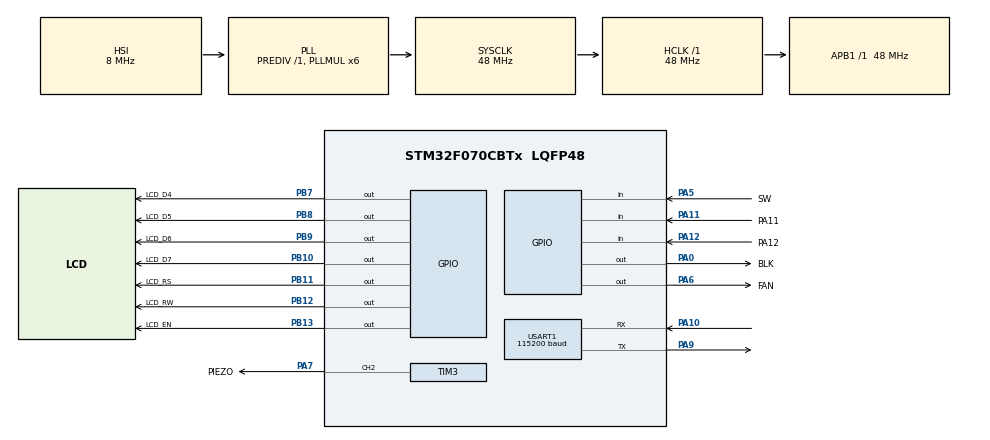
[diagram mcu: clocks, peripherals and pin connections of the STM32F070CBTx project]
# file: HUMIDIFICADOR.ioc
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Mcu.Family=STM32F0
Mcu.Name=STM32F070CBTx
Mcu.Package=LQFP48
NVIC.TIM3_IRQn=true\:0\:0\:false\:false\:true\:true\:true\:true
NVIC.USART1_IRQn=true\:0\:0\:false\:false\:true\:true\:true\:true
PA0.GPIO_Label=BLK
PA0.Signal=GPIO_Output
PA10.Mode=Asynchronous
PA10.Signal=USART1_RX
PA11.GPIO_Label=PA11
PA11.Signal=GPIO_Input
PA12.GPIO_Label=PA12
PA12.Signal=GPIO_Input
PA13.Mode=Serial_Wire
PA13.Signal=SYS_SWDIO
PA14.Mode=Serial_Wire
PA14.Signal=SYS_SWCLK
PA5.GPIO_Label=SW
PA5.Signal=GPIO_Input
PA6.GPIO_Label=FAN
PA6.Signal=GPIO_Output
PA7.GPIO_Label=PIEZO
PA7.Signal=S_TIM3_CH2
PA9.Mode=Asynchronous
PA9.Signal=USART1_TX
PB10.GPIO_Label=LCD_D7
PB10.GPIO_ModeDefaultOutputPP=GPIO_MODE_OUTPUT_OD
PB10.GPIO_PuPd=GPIO_NOPULL
PB10.Signal=GPIO_Output
PB11.GPIO_Label=LCD_RS
PB11.GPIO_ModeDefaultOutputPP=GPIO_MODE_OUTPUT_OD
PB11.GPIO_PuPd=GPIO_NOPULL
PB11.Signal=GPIO_Output
PB12.GPIO_Label=LCD_RW
PB12.GPIO_ModeDefaultOutputPP=GPIO_MODE_OUTPUT_OD
PB12.GPIO_PuPd=GPIO_NOPULL
PB12.Signal=GPIO_Output
PB13.GPIO_Label=LCD_EN
PB13.GPIO_ModeDefaultOutputPP=GPIO_MODE_OUTPUT_OD
PB13.GPIO_PuPd=GPIO_NOPULL
PB13.Signal=GPIO_Output
PB7.GPIO_Label=LCD_D4
PB7.GPIO_ModeDefaultOutputPP=GPIO_MODE_OUTPUT_OD
PB7.GPIO_PuPd=GPIO_NOPULL
PB7.Signal=GPIO_Output
PB8.GPIO_Label=LCD_D5
PB8.GPIO_ModeDefaultOutputPP=GPIO_MODE_OUTPUT_OD
PB8.GPIO_PuPd=GPIO_NOPULL
PB8.Signal=GPIO_Output
PB9.GPIO_Label=LCD_D6
PB9.GPIO_ModeDefaultOutputPP=GPIO_MODE_OUTPUT_OD
PB9.GPIO_PuPd=GPIO_NOPULL
PB9.Signal=GPIO_Output
PF0-OSC_IN.Mode=HSE-External-Oscillator
PF0-OSC_IN.Signal=RCC_OSC_IN
PF1-OSC_OUT.Mode=HSE-External-Oscillator
PF1-OSC_OUT.Signal=RCC_OSC_OUT
ProjectManager.HeapSize=0x200
ProjectManager.StackSize=0x400
ProjectManager.TargetToolchain=MDK-ARM V5.32
RCC.AHBFreq_Value=48000000
RCC.APB1Freq_Value=48000000
RCC.APB1TimFreq_Value=48000000
RCC.HCLKFreq_Value=48000000
RCC.PLLMUL=RCC_PLL_MUL6
RCC.SYSCLKFreq_VALUE=48000000
RCC.SYSCLKSource=RCC_SYSCLKSOURCE_PLLCLK
SH.S_TIM3_CH2.0=TIM3_CH2,PWM Generation2 CH2
TIM3.Channel-PWM\ Generation2\ CH2=TIM_CHANNEL_2
TIM3.Period=4096
TIM3.Pulse-PWM\ Generation2\ CH2=1024
USART1.BaudRate=115200
USART1.VirtualMode-Asynchronous=VM_ASYNC
VP_IWDG_VS_IWDG.Mode=IWDG_Activate
board=custom

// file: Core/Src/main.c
/* USER CODE BEGIN Header */
/**
  ******************************************************************************
  * @file           : main.c
  * @brief          : Main program body
  ******************************************************************************
  * @attention
  *
  * Copyright (c) 2023 STMicroelectronics.
  * All rights reserved.
  *
  * This software is licensed under terms that can be found in the LICENSE file
  * in the root directory of this software component.
  * If no LICENSE file comes with this software, it is provided AS-IS.
  *
  ******************************************************************************
  */
/* USER CODE END Header */
#include "main.h"

/* USER CODE BEGIN Includes */
#include "bsp_lcd20x4.h"
#include "bsp_hd44780.h"
/* USER CODE END Includes */

/* USER CODE BEGIN PD */
#define ON  1
#define OFF 0
/* USER CODE END PD */

IWDG_HandleTypeDef hiwdg;

TIM_HandleTypeDef htim3;

UART_HandleTypeDef huart1;

void SystemClock_Config(void);
static void MX_GPIO_Init(void);
static void MX_IWDG_Init(void);
static void MX_TIM3_Init(void);
static void MX_USART1_UART_Init(void);

/* USER CODE BEGIN 0 */
void backlight(char state){
	HAL_GPIO_WritePin(BLK_GPIO_Port,BLK_Pin,state);
}

void fan(char state){
	HAL_GPIO_WritePin(FAN_GPIO_Port,FAN_Pin,state);
}

/* USER CODE END 0 */

int main(void)
{
  /* USER CODE BEGIN 1 */
	char txt[40];
  /* USER CODE END 1 */

  /* MCU Configuration--------------------------------------------------------*/

  /* Reset of all peripherals, Initializes the Flash interface and the Systick. */
  HAL_Init();

  /* Configure the system clock */
  SystemClock_Config();

  /* Initialize all configured peripherals */
  MX_GPIO_Init();
  //MX_IWDG_Init();
  MX_TIM3_Init();
  MX_USART1_UART_Init();
  /* USER CODE BEGIN 2 */
	backlight(OFF);
	fan(OFF);

	HAL_TIM_PWM_Start(&htim3, TIM_CHANNEL_2);
	HD44780_Init();
	HD44780_Clear();
	vLCD20x4_SetXY(0,0);
	vLCD20x4_Text("HUMIDIFICADOR");
	HAL_Delay(1000);

	for(int x=0;x<5;x++){
		backlight(ON);
		fan(ON);
		HAL_Delay(5000);
		backlight(OFF);
		fan(OFF);
		HAL_Delay(5000);
	}
  /* USER CODE END 2 */

  /* Infinite loop */
  /* USER CODE BEGIN WHILE */
  while (1)
  {
		if(HAL_GPIO_ReadPin(SW_GPIO_Port,SW_Pin)){
			HAL_Delay(250);
			if(HAL_GPIO_ReadPin(SW_GPIO_Port,SW_Pin)){
				backlight(ON);
				fan(ON);
				for(int x=0;x<15;x++){
					/*LCD_Set_Cursor(1, 1);
					sprintf(txt,"%02d",x);
					LCD_Write_String(txt);*/
					HAL_TIM_PWM_Start(&htim3, TIM_CHANNEL_2);
					HAL_Delay(60000);
				}
				//LCD_Set_Cursor(1, 1);
				//LCD_Write_String("   ");
			}
		}
    /* USER CODE END WHILE */

    /* USER CODE BEGIN 3 */
		HAL_TIM_PWM_Stop(&htim3, TIM_CHANNEL_2);
		backlight(OFF);
		fan(OFF);
  }
  /* USER CODE END 3 */
}

void SystemClock_Config(void)
{
  RCC_OscInitTypeDef RCC_OscInitStruct = {0};
  RCC_ClkInitTypeDef RCC_ClkInitStruct = {0};
  RCC_PeriphCLKInitTypeDef PeriphClkInit = {0};

  /** Initializes the RCC Oscillators according to the specified parameters
  * in the RCC_OscInitTypeDef structure.
  */
  RCC_OscInitStruct.OscillatorType = RCC_OSCILLATORTYPE_HSI|RCC_OSCILLATORTYPE_LSI;
  RCC_OscInitStruct.HSIState = RCC_HSI_ON;
  RCC_OscInitStruct.HSICalibrationValue = RCC_HSICALIBRATION_DEFAULT;
  RCC_OscInitStruct.LSIState = RCC_LSI_ON;
  RCC_OscInitStruct.PLL.PLLState = RCC_PLL_ON;
  RCC_OscInitStruct.PLL.PLLSource = RCC_PLLSOURCE_HSI;
  RCC_OscInitStruct.PLL.PLLMUL = RCC_PLL_MUL6;
  RCC_OscInitStruct.PLL.PREDIV = RCC_PREDIV_DIV1;
  if (HAL_RCC_OscConfig(&RCC_OscInitStruct) != HAL_OK)
  {
    Error_Handler();
  }

  /** Initializes the CPU, AHB and APB buses clocks
  */
  RCC_ClkInitStruct.ClockType = RCC_CLOCKTYPE_HCLK|RCC_CLOCKTYPE_SYSCLK
                              |RCC_CLOCKTYPE_PCLK1;
  RCC_ClkInitStruct.SYSCLKSource = RCC_SYSCLKSOURCE_PLLCLK;
  RCC_ClkInitStruct.AHBCLKDivider = RCC_SYSCLK_DIV1;
  RCC_ClkInitStruct.APB1CLKDivider = RCC_HCLK_DIV1;

  if (HAL_RCC_ClockConfig(&RCC_ClkInitStruct, FLASH_LATENCY_1) != HAL_OK)
  {
    Error_Handler();
  }
  PeriphClkInit.PeriphClockSelection = RCC_PERIPHCLK_USART1;
  PeriphClkInit.Usart1ClockSelection = RCC_USART1CLKSOURCE_PCLK1;
  if (HAL_RCCEx_PeriphCLKConfig(&PeriphClkInit) != HAL_OK)
  {
    Error_Handler();
  }
}

static void MX_IWDG_Init(void)
{

  hiwdg.Instance = IWDG;
  hiwdg.Init.Prescaler = IWDG_PRESCALER_4;
  hiwdg.Init.Window = 4095;
  hiwdg.Init.Reload = 4095;
  if (HAL_IWDG_Init(&hiwdg) != HAL_OK)
  {
    Error_Handler();
  }

}

static void MX_TIM3_Init(void)
{

  TIM_MasterConfigTypeDef sMasterConfig = {0};
  TIM_OC_InitTypeDef sConfigOC = {0};

  htim3.Instance = TIM3;
  htim3.Init.Prescaler = 0;
  htim3.Init.CounterMode = TIM_COUNTERMODE_UP;
  htim3.Init.Period = 480;
  htim3.Init.ClockDivision = TIM_CLOCKDIVISION_DIV1;
  //htim3.Init.AutoReloadPreload = TIM_AUTORELOAD_PRELOAD_DISABLE;
  if (HAL_TIM_PWM_Init(&htim3) != HAL_OK)
  {
    Error_Handler();
  }
  sMasterConfig.MasterOutputTrigger = TIM_TRGO_RESET;
  sMasterConfig.MasterSlaveMode = TIM_MASTERSLAVEMODE_DISABLE;
  if (HAL_TIMEx_MasterConfigSynchronization(&htim3, &sMasterConfig) != HAL_OK)
  {
    Error_Handler();
  }
  sConfigOC.OCMode = TIM_OCMODE_PWM1;
  sConfigOC.Pulse = 240;
  sConfigOC.OCPolarity = TIM_OCPOLARITY_HIGH;
  sConfigOC.OCFastMode = TIM_OCFAST_DISABLE;
  if (HAL_TIM_PWM_ConfigChannel(&htim3, &sConfigOC, TIM_CHANNEL_2) != HAL_OK)
  {
    Error_Handler();
  }
  HAL_TIM_MspPostInit(&htim3);

}

static void MX_USART1_UART_Init(void)
{

  huart1.Instance = USART1;
  huart1.Init.BaudRate = 115200;
  huart1.Init.WordLength = UART_WORDLENGTH_8B;
  huart1.Init.StopBits = UART_STOPBITS_1;
  huart1.Init.Parity = UART_PARITY_NONE;
  huart1.Init.Mode = UART_MODE_TX_RX;
  huart1.Init.HwFlowCtl = UART_HWCONTROL_NONE;
  huart1.Init.OverSampling = UART_OVERSAMPLING_16;
  huart1.Init.OneBitSampling = UART_ONE_BIT_SAMPLE_DISABLE;
  huart1.AdvancedInit.AdvFeatureInit = UART_ADVFEATURE_NO_INIT;
  if (HAL_UART_Init(&huart1) != HAL_OK)
  {
    Error_Handler();
  }

}

static void MX_GPIO_Init(void)
{
  GPIO_InitTypeDef GPIO_InitStruct = {0};

  /* GPIO Ports Clock Enable */
  __HAL_RCC_GPIOF_CLK_ENABLE();
  __HAL_RCC_GPIOA_CLK_ENABLE();
  __HAL_RCC_GPIOB_CLK_ENABLE();

  /*Configure GPIO pin Output Level */
  HAL_GPIO_WritePin(GPIOA, BLK_Pin|FAN_Pin, GPIO_PIN_RESET);

  /*Configure GPIO pin Output Level */
  HAL_GPIO_WritePin(GPIOB, LCD_D7_Pin|LCD_RS_Pin|LCD_RW_Pin|LCD_EN_Pin
                          |LCD_D4_Pin|LCD_D5_Pin|LCD_D6_Pin, GPIO_PIN_RESET);

  /*Configure GPIO pins : BLK_Pin FAN_Pin */
  GPIO_InitStruct.Pin = BLK_Pin|FAN_Pin;
  GPIO_InitStruct.Mode = GPIO_MODE_OUTPUT_PP;
  GPIO_InitStruct.Pull = GPIO_NOPULL;
  GPIO_InitStruct.Speed = GPIO_SPEED_FREQ_LOW;
  HAL_GPIO_Init(GPIOA, &GPIO_InitStruct);

  /*Configure GPIO pins : SW_Pin PA11_Pin PA12_Pin */
  GPIO_InitStruct.Pin = SW_Pin|PA11_Pin|PA12_Pin;
  GPIO_InitStruct.Mode = GPIO_MODE_INPUT;
  GPIO_InitStruct.Pull = GPIO_NOPULL;
  HAL_GPIO_Init(GPIOA, &GPIO_InitStruct);

  /*Configure GPIO pins : LCD_D7_Pin LCD_RS_Pin LCD_RW_Pin LCD_EN_Pin
                           LCD_D4_Pin LCD_D5_Pin LCD_D6_Pin */
  GPIO_InitStruct.Pin = LCD_D7_Pin|LCD_RS_Pin|LCD_RW_Pin|LCD_EN_Pin
                          |LCD_D4_Pin|LCD_D5_Pin|LCD_D6_Pin;
  GPIO_InitStruct.Mode = GPIO_MODE_OUTPUT_OD;
  GPIO_InitStruct.Pull = GPIO_NOPULL;
  GPIO_InitStruct.Speed = GPIO_SPEED_FREQ_LOW;
  HAL_GPIO_Init(GPIOB, &GPIO_InitStruct);

}

void Error_Handler(void)
{
  __disable_irq();
  while (1)
  {
  }
}
